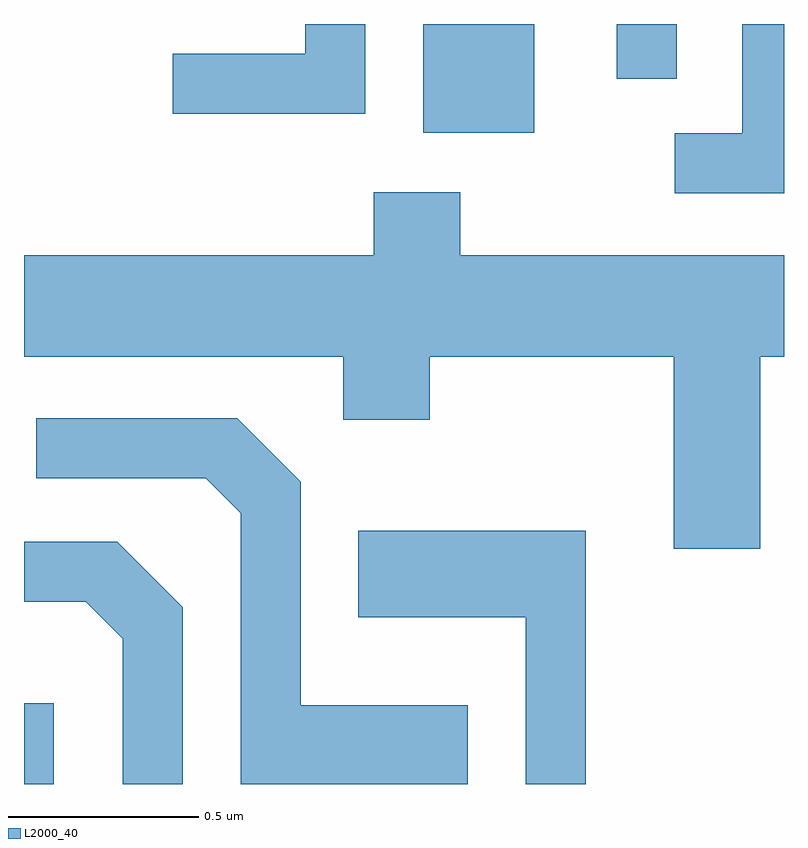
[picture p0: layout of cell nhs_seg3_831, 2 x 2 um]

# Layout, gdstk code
import gdstk
lib = gdstk.Library(unit=1e-6, precision=1e-09)
def R(c, l, rs):  # rectangles x0, y0, x1, y1
    for r in rs: c.add(gdstk.rectangle(r[:2], r[2:], *l))
def P(c, l, *ps):  # polygons
    for p in ps: c.add(gdstk.Polygon(p, *l))
L2000_40 = (2000, 40)

nhs_seg3_831 = lib.new_cell('nhs_seg3_831')
R(nhs_seg3_831, L2000_40, [(191.611,1124.892,191.689,1125.104), (192.661,1126.606,192.954,1126.892), (193.171,1126.748,193.329,1126.892)])
P(nhs_seg3_831, L2000_40, [(192.509,1126.892),(192.351,1126.892),(192.351,1126.814),(192.003,1126.814),(192.003,1126.656),(192.509,1126.656)],
  [(193.611,1126.892),(193.501,1126.892),(193.501,1126.604),(193.323,1126.604),(193.323,1126.446),(193.611,1126.446)],
  [(193.549,1126.016),(193.611,1126.016),(193.611,1126.284),(192.759,1126.284),(192.759,1126.449),(192.531,1126.449),(192.531,1126.284),(191.611,1126.284),(191.611,1126.016),(192.451,1126.016),(192.451,1125.851),(192.679,1125.851),(192.679,1126.016),(193.321,1126.016),(193.321,1125.511),(193.549,1125.511)],
  [(192.779,1125.099),(192.339,1125.099),(192.339,1125.687),(192.172,1125.854),(191.643,1125.854),(191.643,1125.696),(192.089,1125.696),(192.181,1125.604),(192.181,1124.892),(192.779,1124.892)],
  [(193.089,1125.559),(192.491,1125.559),(192.491,1125.331),(192.931,1125.331),(192.931,1124.892),(193.089,1124.892)],
  [(192.029,1125.357),(191.857,1125.529),(191.611,1125.529),(191.611,1125.371),(191.774,1125.371),(191.871,1125.274),(191.871,1124.892),(192.029,1124.892)])

lib.write_gds('nhs_seg3_831.gds')
